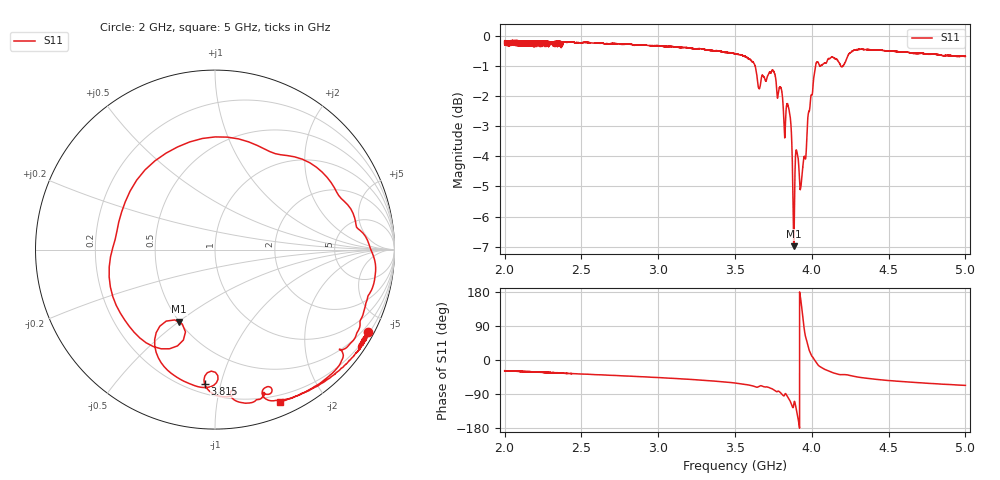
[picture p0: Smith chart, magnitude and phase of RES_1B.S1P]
!Agilent Technologies,E5071C,MY46214220,A.11.31
!Date: Fri Sep 22 10:19:04 2017
!Data & Calibration Information:
!Freq	S11:SOLT1(ON)
!PortZ  Port1:50+j0
!Above PortZ is port z conversion or system Z0 setting when saving the data.
!When reading, reference impedance value at option line is always used.
# Hz S dB R 50
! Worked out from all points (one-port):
!   20000 points, 2 GHz to 5 GHz, reference 50 ohm
!   lowest |S11| = -7.0 dB at 3.883 GHz (marker M1), VSWR 2.62, Z = 25 - j25 ohm
!   |S11| at or under -10 dB: nowhere
!   S11 on the Smith chart (normalised r, x): 2 GHz: 0.25, -3.95; 3.815 GHz: 0.26, -0.89; 5 GHz: 0.13, -1.50
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2e9  -0.27 -28.3
2.375019e9  -0.20 -34.9
2.750038e9  -0.28 -41.4
3.125056e9  -0.38 -49.1
3.500075e9  -0.59 -60.7
3.641232e9  -1.27 -71.7
3.719236e9  -1.26 -72.3
3.754338e9  -1.21 -79.2
3.814941e9  -2.47 -94.4
3.835942e9  -2.31 -92.4
3.849442e9  -2.40 -101.3
3.864143e9  -2.95 -113.3
3.875094e9  -4.66 -124.7
3.882894e9  -6.98 -116.5
3.902395e9  -3.84 -136.4
3.912596e9  -4.14 -159.2
3.922646e9  -5.04 174.5
3.939747e9  -4.42 119.1
3.954298e9  -4.03 71.9
3.967198e9  -3.40 50.1
3.983699e9  -2.50 24.9
4.023901e9  -1.00 -3.6
4.054653e9  -0.99 -17.7
4.119906e9  -0.75 -30.7
4.188009e9  -0.99 -38.8
4.250113e9  -0.57 -41.0
4.625131e9  -0.55 -58.0
5e9  -0.68 -67.0
